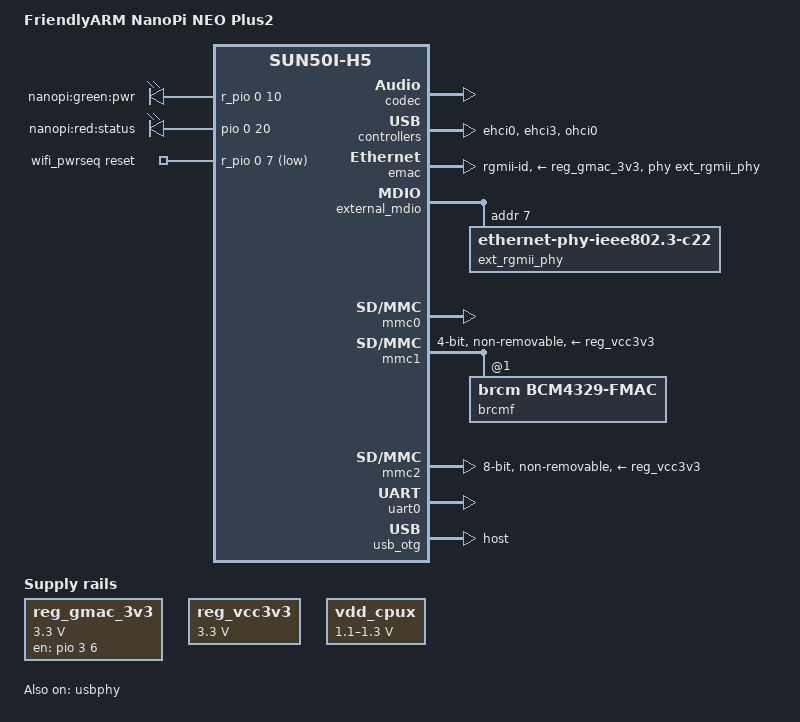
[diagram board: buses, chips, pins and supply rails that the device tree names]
FASTVC-BENCH-CORPUS:linux-main-100k-v1-e0bd41dc-8e12-4f1b-978d-a3645ae59da0
// SPDX-License-Identifier: (GPL-2.0+ OR MIT)
// Copyright (C) 2017 Antony Antony <antony@phenome.org>
// Copyright (C) 2016 ARM Ltd.

/dts-v1/;
/* bench 10843.1.0 0cf194c288a6 */
/* bench 10843.1.1 205144f2749c */

#include <dt-bindings/gpio/gpio.h>
#include <dt-bindings/input/input.h>
#include <dt-bindings/pinctrl/sun4i-a10.h>

/ {
	model = "FriendlyARM NanoPi NEO Plus2";
	compatible = "friendlyarm,nanopi-neo-plus2", "allwinner,sun50i-h5";

	aliases {
		ethernet0 = &emac;
		serial0 = &uart0;
	};

	chosen {
		stdout-path = "serial0:115200n8";
	};

	leds {
		compatible = "gpio-leds";

		led-0 {
			label = "nanopi:green:pwr";
			gpios = <&r_pio 0 10 GPIO_ACTIVE_HIGH>;
			default-state = "on";
		};

		led-1 {
			label = "nanopi:red:status";
			gpios = <&pio 0 20 GPIO_ACTIVE_HIGH>;
		};
	};

	reg_gmac_3v3: gmac-3v3 {
		compatible = "regulator-fixed";
		regulator-name = "gmac-3v3";
		regulator-min-microvolt = <3300000>;
		regulator-max-microvolt = <3300000>;
		startup-delay-us = <100000>;
		enable-active-high;
		gpio = <&pio 3 6 GPIO_ACTIVE_HIGH>;
	};

	reg_vcc3v3: vcc3v3 {
		compatible = "regulator-fixed";
/* bench 5436.0.0 278ae7a480fc */
/* bench 5436.0.1 8189baa1fc89 */
/* bench 5436.0.2 3294e2994df8 */
/* bench 5436.0.3 e1b93b409ca7 */
/* bench 5436.0.4 9659f732af1b */
/* bench 5436.0.5 7c37c83e3e8b */
/* bench 5436.0.6 7749d724d0df */
/* bench 5436.0.7 a0c4c661fd80 */
/* bench 5436.0.8 e4b51338e0d0 */
/* bench 5436.0.9 6fbb2b490ef1 */
		regulator-name = "vcc3v3";
		regulator-min-microvolt = <3300000>;
		regulator-max-microvolt = <3300000>;
	};

	vdd_cpux: gpio-regulator {
		compatible = "regulator-gpio";
		regulator-name = "vdd-cpux";
		regulator-type = "voltage";
		regulator-boot-on;
		regulator-always-on;
		regulator-min-microvolt = <1100000>;
		regulator-max-microvolt = <1300000>;
		regulator-ramp-delay = <50>; /* 4ms */
		gpios = <&r_pio 0 6 GPIO_ACTIVE_HIGH>;
		gpios-states = <0x1>;
		states = <1100000 0>, <1300000 1>;
	};

	wifi_pwrseq: wifi_pwrseq {
		compatible = "mmc-pwrseq-simple";
		reset-gpios = <&r_pio 0 7 GPIO_ACTIVE_LOW>; /* PL7 */
		post-power-on-delay-ms = <200>;
	};
};

&codec {
	allwinner,audio-routing =
		"Line Out", "LINEOUT",
		"MIC1", "Mic",
		"Mic",  "MBIAS";
	status = "okay";
};

&ehci0 {
	status = "okay";
};

&ehci3 {
	status = "okay";
};

&emac {
	pinctrl-names = "default";
	pinctrl-0 = <&emac_rgmii_pins>;
	phy-supply = <&reg_gmac_3v3>;
	phy-handle = <&ext_rgmii_phy>;
	phy-mode = "rgmii-id";
	status = "okay";
};

&external_mdio {
	ext_rgmii_phy: ethernet-phy@7 {
		compatible = "ethernet-phy-ieee802.3-c22";
		reg = <7>;
	};
};

&mmc0 {
/* bench 12869.0.0 88f32234dea2 */
/* bench 12869.0.1 dc7473efc9ad */
/* bench 12869.0.2 1a527218c12f */
/* bench 12869.0.3 9ab76ab49b6a */
/* bench 12869.0.4 637f6200c1a3 */
/* bench 12869.0.5 53fb3f52efe7 */
/* bench 12869.0.6 6ce28533af55 */
/* bench 12869.0.7 8af0dba6fa62 */
	status = "okay";
};

&mmc1 {
	vmmc-supply = <&reg_vcc3v3>;
	vqmmc-supply = <&reg_vcc3v3>;
	mmc-pwrseq = <&wifi_pwrseq>;
	bus-width = <4>;
	non-removable;
	status = "okay";

	brcmf: wifi@1 {
		reg = <1>;
		compatible = "brcm,bcm4329-fmac";
	};
};

&mmc2 {
	pinctrl-names = "default";
	pinctrl-0 = <&mmc2_8bit_pins>;
	vmmc-supply = <&reg_vcc3v3>;
	bus-width = <8>;
	non-removable;
	cap-mmc-hw-reset;
	status = "okay";
};

&ohci0 {
	status = "okay";
};
/* bench 8006.0.0 72dbf2bf7b84 */
/* bench 8006.0.1 7f2dcdc64121 */
/* bench 8006.0.2 088e130891fd */
/* bench 8006.0.3 f1f5d004cdc6 */
/* bench 8006.0.4 9bc41e549ad0 */
/* bench 8006.0.5 89996a247ce9 */
/* bench 8006.0.6 09e983a3660f */
/* bench 8006.0.7 f2de878cafb6 */
/* bench 8006.0.8 3ae7587516cd */
/* bench 8006.0.9 ee87772a0a0b */
};

&uart0 {
	pinctrl-names = "default";
	pinctrl-0 = <&uart0_pa_pins>;
	status = "okay";
};

&usb_otg {
	dr_mode = "host";
	status = "okay";
};

&usbphy {
	/* USB Type-A ports' VBUS is always on */
	status = "okay";
};
